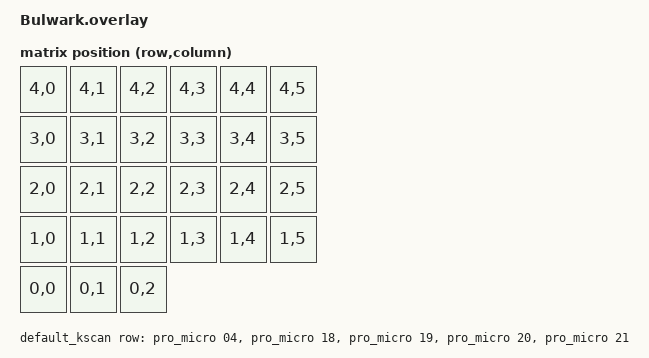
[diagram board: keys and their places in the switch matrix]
#include <dt-bindings/zmk/matrix_transform.h>

/ {

//Use here the default kscan and also the default transform. No need to adjust this in our case.
    chosen {
        zmk, kscan = &default_kscan;
        zmk, matrix_transform =  &default_transform;
    };
    
    default_kscan: kscan {
        compatible = "zmk, kscan-gpio-matrix";
        label = "default_kscan";
        diode-direction = "col2row";
        
        row-gpios = <&pro_micro 04 (GPIO_ACTIVE_HIGH | GPIO_PULL_DOWN)>,
                    <&pro_micro 18 (GPIO_ACTIVE_HIGH | GPIO_PULL_DOWN)>,
                    <&pro_micro 19 (GPIO_ACTIVE_HIGH | GPIO_PULL_DOWN)>,
                    <&pro_micro 20 (GPIO_ACTIVE_HIGH | GPIO_PULL_DOWN)>,
                    <&pro_micro 21 (GPIO_ACTIVE_HIGH | GPIO_PULL_DOWN)>;
        
        col-gpios = <&pro_micro 05 (GPIO_ACTIVE_HIGH>,
                    <&pro_micro 06 (GPIO_ACTIVE_HIGH>,
                    <&pro_micro 07 (GPIO_ACTIVE_HIGH>,
                    <&pro_micro 08 (GPIO_ACTIVE_HIGH>,
                    <&pro_micro 09 (GPIO_ACTIVE_HIGH>,
                    <&pro_micro 10 (GPIO_ACTIVE_HIGH>;
    };
    
    default_transform: matrix_transform {
        compatible = "zmk, matrix-transform";
        rows = <5>;
        columns = <6>;
        
        map = <
            RC(4,0) RC(4,1) RC(4,2) RC(4,3) RC(4,4) RC(4,5)
            RC(3,0) RC(3,1) RC(3,2) RC(3,3) RC(3,4) RC(3,5)
            RC(2,0) RC(2,1) RC(2,2) RC(2,3) RC(2,4) RC(2,5)
            RC(1,0) RC(1,1) RC(1,2) RC(1,3) RC(1,4) RC(1,5)
            RC(0,0) RC(0,1) RC(0,2)
        >;
    }
}
